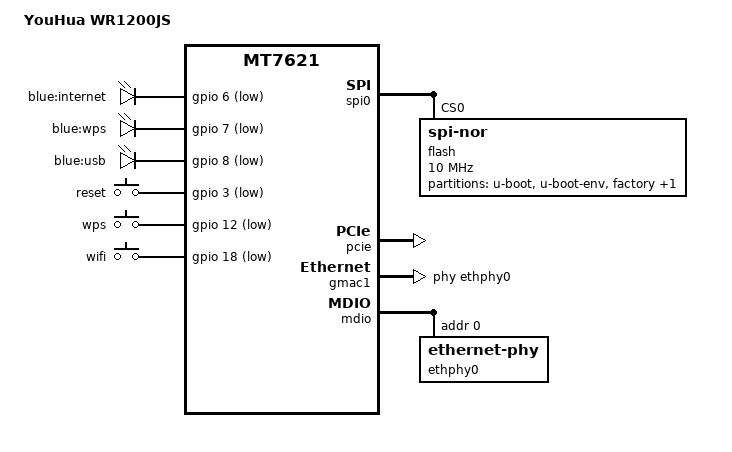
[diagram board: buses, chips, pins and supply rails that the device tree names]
#include "mt7621.dtsi"

#include <dt-bindings/gpio/gpio.h>
#include <dt-bindings/input/input.h>

/ {
	compatible = "youhua,wr1200js", "mediatek,mt7621-soc";
	model = "YouHua WR1200JS";

	aliases {
		led-boot = &led_wps;
		led-failsafe = &led_wps;
	};

	chosen {
		bootargs = "console=ttyS0,115200";
	};

	leds {
		compatible = "gpio-leds";

		internet {
			label = "blue:internet";
			gpios = <&gpio 6 GPIO_ACTIVE_LOW>;
		};

		led_wps: wps {
			label = "blue:wps";
			gpios = <&gpio 7 GPIO_ACTIVE_LOW>;
		};

		usb {
			label = "blue:usb";
			gpios = <&gpio 8 GPIO_ACTIVE_LOW>;
			trigger-sources = <&xhci_ehci_port1>, <&ehci_port2>;
			linux,default-trigger = "usbport";
		};
	};

	keys {
		compatible = "gpio-keys";

		reset {
			label = "reset";
			gpios = <&gpio 3 GPIO_ACTIVE_LOW>;
			linux,code = <KEY_RESTART>;
		};

		wps {
			label = "wps";
			gpios = <&gpio 12 GPIO_ACTIVE_LOW>;
			linux,code = <KEY_WPS_BUTTON>;
		};

		wifi {
			label = "wifi";
			gpios = <&gpio 18 GPIO_ACTIVE_LOW>;
			linux,code = <KEY_RFKILL>;
		};
	};
};

&spi0 {
	status = "okay";

	flash@0 {
		compatible = "jedec,spi-nor";
		reg = <0>;
		spi-max-frequency = <10000000>;

		partitions {
			compatible = "fixed-partitions";
			#address-cells = <1>;
			#size-cells = <1>;

			partition@0 {
				label = "u-boot";
				reg = <0x0 0x30000>;
				read-only;
			};

			partition@30000 {
				label = "u-boot-env";
				reg = <0x30000 0x10000>;
				read-only;
			};

			factory: partition@40000 {
				label = "factory";
				reg = <0x40000 0x10000>;
				read-only;
			};

			partition@50000 {
				compatible = "denx,uimage";
				label = "firmware";
				reg = <0x50000 0xfb0000>;
			};
		};
	};
};

&pcie {
	status = "okay";
};

&pcie0 {
	mt76@0,0 {
		reg = <0x0000 0 0 0 0>;
		mediatek,mtd-eeprom = <&factory 0x0000>;
	};
};

&pcie1 {
	mt76@0,0 {
		reg = <0x0000 0 0 0 0>;
		mediatek,mtd-eeprom = <&factory 0x8000>;
		ieee80211-freq-limit = <5000000 6000000>;

		led {
			led-sources = <2>;
			led-active-low;
		};
	};
};

&gmac0 {
	mtd-mac-address = <&factory 0xe000>;
};

&gmac1 {
	status = "okay";
	label = "wan";
	phy-handle = <&ethphy0>;
	mtd-mac-address = <&factory 0xe006>;
};

&mdio {
	ethphy0: ethernet-phy@0 {
		reg = <0>;
	};
};

&switch0 {
	ports {
		port@1 {
			status = "okay";
			label = "lan1";
		};

		port@2 {
			status = "okay";
			label = "lan2";
		};

		port@3 {
			status = "okay";
			label = "lan3";
		};

		port@4 {
			status = "okay";
			label = "lan4";
		};
	};
};

&state_default {
	gpio {
		groups = "i2c", "uart2", "uart3", "wdt";
		function = "gpio";
	};
};
